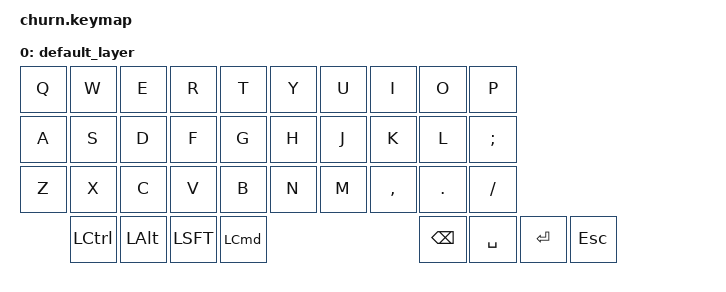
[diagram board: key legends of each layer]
/*
 * Copyright (c) 2020 The ZMK Contributors
 *
 * SPDX-License-Identifier: MIT
 */

#include <behaviors.dtsi>
#include <dt-bindings/zmk/keys.h>
#include <dt-bindings/zmk/bt.h>

/ {
        keymap {
                compatible = "zmk,keymap";

                default_layer {
// ------------------------------------------------------------
// | Q  |  W  |  E  |  R  |  T  |  Y  |  U  |  I  |  O  |  P  |
// | A  |  S  |  D  |  F  |  G  |  H  |  J  |  K  |  L  |  ;  |
// | Z  |  X  |  C  |  V  |  B  |  N  |  M  |  ,  |  .  |  /  |
// -----| CTL | OPT | SFT | CMD | DEL | SPC | RET | ESC |------
//      -------------------------------------------------
                        bindings = <
   &kp Q &kp W &kp E &kp R &kp T &kp Y &kp U  &kp I     &kp O   &kp P
   &kp A &kp S &kp D &kp F &kp G &kp H &kp J  &kp K     &kp L   &kp SEMI
   &kp Z &kp X &kp C &kp V &kp B &kp N &kp M  &kp COMMA &kp DOT &kp FSLH
         &kp LCTL &kp LALT &kp LSFT &kp LCMD &kp BSPC &kp SPACE &kp ENTER &kp ESC
                        >;
                };
        };
};
